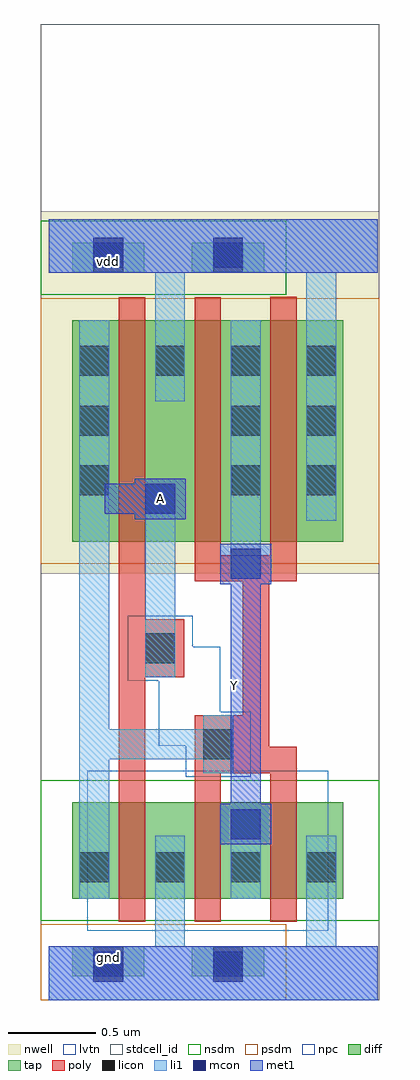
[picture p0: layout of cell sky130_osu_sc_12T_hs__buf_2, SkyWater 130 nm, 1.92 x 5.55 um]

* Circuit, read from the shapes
.subckt sky130_osu_sc_12T_hs__buf_2 A Y gnd vdd
XM1 gnd A n1 gnd sky130_fd_pr__nfet_01v8_lvt w=0.55 l=0.15
XM2 Y n1 gnd gnd sky130_fd_pr__nfet_01v8_lvt w=0.55 l=0.15 m=2
XM3 vdd A n1 vdd sky130_fd_pr__pfet_01v8 w=1.26 l=0.15
XM4 Y n1 vdd vdd sky130_fd_pr__pfet_01v8 w=1.26 l=0.15 m=2
.ends

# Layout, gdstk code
import gdstk
lib = gdstk.Library(unit=1e-6, precision=1e-09)
def R(c, l, rs):  # rectangles x0, y0, x1, y1
    for r in rs: c.add(gdstk.rectangle(r[:2], r[2:], *l))
def A(c, l, x, y, w, h, nx, ny, dx, dy):  # array of equal rectangles
    R(c, l, [(x+i*dx, y+j*dy, x+i*dx+w, y+j*dy+h) for i in range(nx) for j in range(ny)])
nwell = (64, 20)
diff = (65, 20)
tap = (65, 44)
poly = (66, 20)
licon = (66, 44)
li1 = (67, 20)
mcon = (67, 44)
met1 = (68, 20)
stdcell_id = (81, 4)
nsdm = (93, 44)
psdm = (94, 20)
npc = (95, 20)
lvtn = (125, 44)

sky130_osu_sc_12t_hs__bu = lib.new_cell('sky130_osu_sc_12T_hs__buf_2')
R(sky130_osu_sc_12t_hs__bu, nwell, [(-0.045,2.425,1.88,4.485)])
R(sky130_osu_sc_12t_hs__bu, diff, [(0.135,0.575,1.675,1.125), (0.135,2.605,1.675,3.865)])
R(sky130_osu_sc_12t_hs__bu, tap, [(0.135,0.135,0.545,0.305), (0.815,0.135,1.225,0.305), (0.135,4.135,0.545,4.305), (0.815,4.135,1.225,4.305)])
R(sky130_osu_sc_12t_hs__bu, poly, [(0.4,0.445,0.55,1.835), (0.83,0.445,0.98,1.29), (1.26,0.445,1.41,1.29), (0.83,1.29,1.41,1.44), (0.83,1.44,1.255,1.62), (1.105,1.62,1.255,2.38), (0.4,1.835,0.77,2.165), (0.4,2.165,0.55,3.995), (0.83,2.38,1.41,2.53), (0.83,2.53,0.98,3.995), (1.26,2.53,1.41,4)])
A(sky130_osu_sc_12t_hs__bu, licon, 0.175, 0.67, 0.17, 0.17, 4, 2, 0.43, 2.88)
R(sky130_osu_sc_12t_hs__bu, licon, [(0.255,0.135,0.425,0.305), (0.935,0.135,1.105,0.305), (0.88,1.37,1.05,1.54), (0.55,1.915,0.72,2.085), (0.175,2.87,0.345,3.04), (1.035,2.87,1.205,3.04), (1.465,2.87,1.635,3.04), (0.175,3.21,0.345,3.38), (1.035,3.21,1.205,3.38), (1.465,3.21,1.635,3.38), (0.255,4.135,0.425,4.305), (0.935,4.135,1.105,4.305)])
R(sky130_osu_sc_12t_hs__bu, li1, [(0,0,1.87,0.305), (0.605,0.305,0.775,0.935), (1.465,0.305,1.635,0.935), (0.175,0.575,0.345,1.37), (1.035,0.575,1.205,1.085), (0.88,1.29,1.05,1.37), (0.175,1.37,1.05,1.54), (0.175,1.54,0.345,3.865), (0.88,1.54,1.05,1.62), (0.55,1.835,0.72,2.935), (1.035,2.395,1.205,3.865), (1.465,2.725,1.635,4.135), (0.605,3.405,0.775,4.135), (0,4.135,1.87,4.44)])
R(sky130_osu_sc_12t_hs__bu, mcon, [(0.255,0.105,0.425,0.275), (0.935,0.105,1.105,0.275), (1.035,0.915,1.205,1.085), (1.035,2.395,1.205,2.565), (0.55,2.765,0.72,2.935), (0.255,4.165,0.425,4.335), (0.935,4.165,1.105,4.335)])
R(sky130_osu_sc_12t_hs__bu, met1, [(0,0,1.87,0.305), (0.975,0.885,1.265,1.115), (1.035,1.115,1.205,2.365), (0.975,2.365,1.265,2.595), (0.49,2.735,0.78,2.765), (0.32,2.765,0.78,2.935), (0.49,2.935,0.78,2.965), (0,4.135,1.87,4.44)])
R(sky130_osu_sc_12t_hs__bu, stdcell_id, [(-0.045,0,1.88,5.55)])
R(sky130_osu_sc_12t_hs__bu, nsdm, [(-0.045,0.45,1.88,1.25), (-0.045,4.01,1.35,4.43)])
R(sky130_osu_sc_12t_hs__bu, psdm, [(-0.045,0,1.35,0.43), (-0.045,2.48,1.88,3.99)])
R(sky130_osu_sc_12t_hs__bu, npc, [(0.78,1.27,1.15,1.445), (0.625,1.445,1.15,1.64), (0.625,1.64,0.975,1.815), (0.45,1.815,0.975,2.01), (0.45,2.01,0.82,2.185)])
R(sky130_osu_sc_12t_hs__bu, lvtn, [(0.22,0.395,1.59,1.305)])
sky130_osu_sc_12t_hs__bu.add(gdstk.Label('gnd', (0.34,0.24), layer=68, texttype=16))
sky130_osu_sc_12t_hs__bu.add(gdstk.Label('vdd', (0.34,4.2), layer=68, texttype=16))
sky130_osu_sc_12t_hs__bu.add(gdstk.Label('A', (0.635,2.85), layer=68, texttype=5))
sky130_osu_sc_12t_hs__bu.add(gdstk.Label('Y', (1.055,1.79), layer=68, texttype=5))

lib.write_gds('sky130_osu_sc_12T_hs__buf_2.gds')
